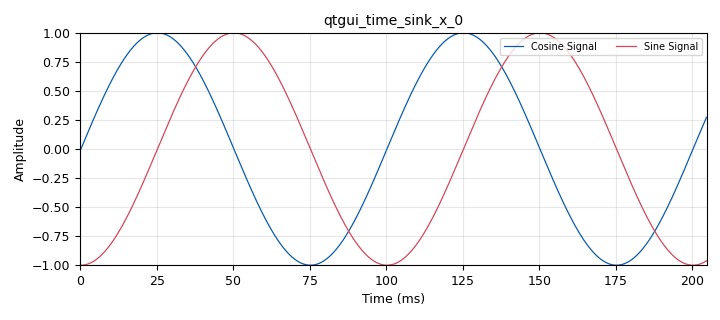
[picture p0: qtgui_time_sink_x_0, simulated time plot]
options:
  parameters:
    author: pmain
    generate_options: qt_gui
    id: QuadratureExample
    output_language: python
    realtime_scheduling: '1'
    title: Not titled yet
  states: {}

blocks:
- name: samp_rate
  id: variable
  parameters:
    value: '5000'
  states: {}
- name: analog_sig_source_x_0
  id: analog_sig_source_x
  parameters:
    amp: '1'
    freq: '10'
    offset: '0'
    phase: '0'
    samp_rate: samp_rate
    type: float
    waveform: analog.GR_COS_WAVE
  states: {}
- name: analog_sig_source_x_1
  id: analog_sig_source_x
  parameters:
    amp: '1'
    freq: '10'
    offset: '0'
    phase: '0'
    samp_rate: samp_rate
    type: float
    waveform: analog.GR_SIN_WAVE
  states: {}
- name: blocks_throttle2_0
  id: blocks_throttle2
  parameters:
    samples_per_second: samp_rate
    type: float
  states: {}
- name: qtgui_time_sink_x_0
  id: qtgui_time_sink_x
  parameters:
    label1: Cosine Signal
    label2: Sine Signal
    nconnections: '2'
    size: '1024'
    srate: samp_rate
    tr_mode: qtgui.TRIG_MODE_NORM
    type: float
    update_time: '10'
  states: {}

connections:
- [analog_sig_source_x_0, '0', blocks_throttle2_0, '0']
- [analog_sig_source_x_1, '0', qtgui_time_sink_x_0, '1']
- [blocks_throttle2_0, '0', qtgui_time_sink_x_0, '0']

metadata:
  file_format: 1
  grc_version: 3.10.12.0
